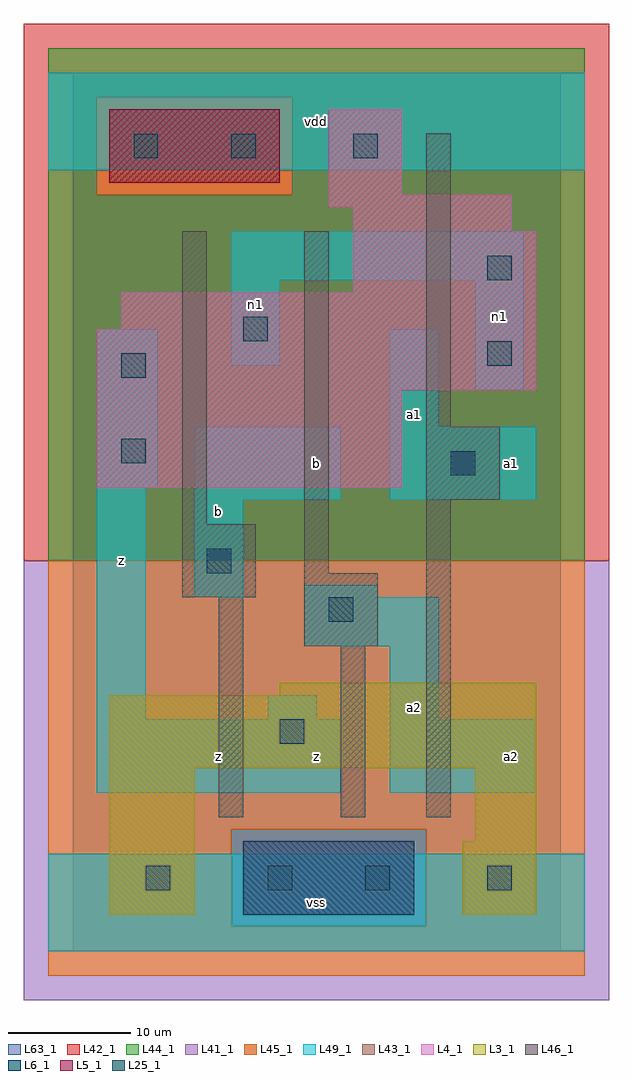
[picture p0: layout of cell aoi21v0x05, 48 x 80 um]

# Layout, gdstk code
import gdstk
lib = gdstk.Library(unit=1e-6, precision=1e-09)
def R(c, l, rs):  # rectangles x0, y0, x1, y1
    for r in rs: c.add(gdstk.rectangle(r[:2], r[2:], *l))
L3_1 = (3, 1)
L4_1 = (4, 1)
L5_1 = (5, 1)
L6_1 = (6, 1)
L25_1 = (25, 1)
L41_1 = (41, 1)
L42_1 = (42, 1)
L43_1 = (43, 1)
L44_1 = (44, 1)
L45_1 = (45, 1)
L46_1 = (46, 1)
L49_1 = (49, 1)
L63_1 = (63, 1)

aoi21v0x05 = lib.new_cell('aoi21v0x05')
R(aoi21v0x05, L3_1, [(3,3,10,15), (32,3,38,9), (33,9,38,15), (3,15,38,21), (17,21,38,22)])
R(aoi21v0x05, L4_1, [(2,38,27,46), (2,46,38,51), (4,51,38,54), (23,54,38,59), (23,59,36,61), (21,61,36,62), (21,62,27,69)])
R(aoi21v0x05, L5_1, [(3,63,17,69)])
R(aoi21v0x05, L6_1, [(14,3,28,9), (14,3,28,9)])
R(aoi21v0x05, L25_1, [(6,5,8,7), (16,5,18,7), (24,5,26,7), (34,5,36,7), (17,17,19,19), (21,27,23,29), (11,31,13,33), (31,39,33,41), (4,40,6,42), (4,47,6,49), (34,48,36,50), (14,50,16,52), (34,55,36,57), (5,65,7,67), (13,65,15,67), (23,65,25,67)])
R(aoi21v0x05, L41_1, [(-4,-4,44,32)])
R(aoi21v0x05, L42_1, [(-4,32,44,76)])
R(aoi21v0x05, L43_1, [(3,3,10,15), (14,3,28,9), (32,3,38,9), (33,9,38,15), (3,15,38,21), (17,21,38,22), (2,38,27,46), (2,46,38,51), (4,51,38,54), (23,54,38,59), (23,59,36,61), (21,61,36,62), (21,62,27,69), (3,63,17,69)])
R(aoi21v0x05, L44_1, [(13,2,29,10), (-2,32,42,62), (-2,62,2,70), (18,62,42,70), (-2,70,42,74)])
R(aoi21v0x05, L45_1, [(-2,-2,42,2), (-2,2,13,10), (29,2,42,10), (-2,10,42,32), (2,62,18,70)])
R(aoi21v0x05, L46_1, [(12,11,14,29), (22,11,24,25), (29,11,31,37), (19,25,25,31), (9,29,15,35), (19,31,21,59), (9,35,11,59), (29,37,35,43), (29,43,31,67)])
R(aoi21v0x05, L49_1, [(-2,0,42,8), (2,13,22,19), (26,13,38,19), (2,19,6,38), (16,19,20,21), (26,19,30,25), (19,25,30,29), (10,29,14,37), (19,29,25,30), (10,37,22,43), (26,37,38,43), (2,38,7,51), (26,43,30,51), (33,46,37,55), (13,48,17,55), (13,55,37,59), (-2,64,42,72)])
R(aoi21v0x05, L63_1, [(0,0,40,72)])
aoi21v0x05.add(gdstk.Label('z', (4,32), layer=49, texttype=1))
aoi21v0x05.add(gdstk.Label('z', (12,16), layer=49, texttype=1))
aoi21v0x05.add(gdstk.Label('b', (12,36), layer=49, texttype=1))
aoi21v0x05.add(gdstk.Label('n1', (15,53), layer=49, texttype=1))
aoi21v0x05.add(gdstk.Label('vss', (20,4), layer=49, texttype=1))
aoi21v0x05.add(gdstk.Label('a2', (28,20), layer=49, texttype=1))
aoi21v0x05.add(gdstk.Label('z', (20,16), layer=49, texttype=1))
aoi21v0x05.add(gdstk.Label('b', (20,40), layer=49, texttype=1))
aoi21v0x05.add(gdstk.Label('a1', (28,44), layer=49, texttype=1))
aoi21v0x05.add(gdstk.Label('vdd', (20,68), layer=49, texttype=1))
aoi21v0x05.add(gdstk.Label('a2', (36,16), layer=49, texttype=1))
aoi21v0x05.add(gdstk.Label('a1', (36,40), layer=49, texttype=1))
aoi21v0x05.add(gdstk.Label('n1', (35,52), layer=49, texttype=1))

lib.write_gds('aoi21v0x05.gds')
